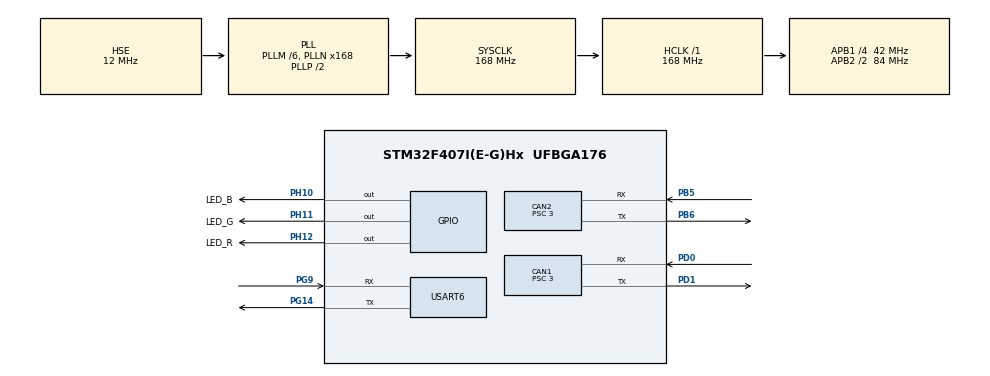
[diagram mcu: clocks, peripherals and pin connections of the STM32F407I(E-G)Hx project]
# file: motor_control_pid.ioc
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CAN1.BS1=CAN_BS1_10TQ
CAN1.BS2=CAN_BS2_3TQ
CAN1.CalculateBaudRate=1000000
CAN1.CalculateTimeBit=1000
CAN1.CalculateTimeQuantum=71.42857142857143
CAN1.Prescaler=3
CAN2.BS1=CAN_BS1_10TQ
CAN2.BS2=CAN_BS2_3TQ
CAN2.CalculateBaudRate=1000000
CAN2.CalculateTimeBit=1000
CAN2.CalculateTimeQuantum=71.42857142857143
CAN2.Prescaler=3
Mcu.Family=STM32F4
Mcu.Name=STM32F407I(E-G)Hx
Mcu.Package=UFBGA176
NVIC.CAN1_RX0_IRQn=true\:0\:0\:false\:false\:true\:true\:true\:true
NVIC.CAN1_TX_IRQn=true\:0\:0\:false\:false\:true\:true\:true\:true
NVIC.PriorityGroup=NVIC_PRIORITYGROUP_4
NVIC.USART6_IRQn=true\:0\:0\:false\:false\:true\:true\:true\:true
PA13.Mode=Serial_Wire
PA13.Signal=SYS_JTMS-SWDIO
PA14.Mode=Serial_Wire
PA14.Signal=SYS_JTCK-SWCLK
PB5.Mode=CAN_Activate
PB5.Signal=CAN2_RX
PB6.Mode=CAN_Activate
PB6.Signal=CAN2_TX
PC14-OSC32_IN.Mode=LSE-External-Oscillator
PC14-OSC32_IN.Signal=RCC_OSC32_IN
PC15-OSC32_OUT.Mode=LSE-External-Oscillator
PC15-OSC32_OUT.Signal=RCC_OSC32_OUT
PD0.Mode=CAN_Activate
PD0.Signal=CAN1_RX
PD1.Mode=CAN_Activate
PD1.Signal=CAN1_TX
PG14.Mode=Asynchronous
PG14.Signal=USART6_TX
PG9.Mode=Asynchronous
PG9.Signal=USART6_RX
PH0-OSC_IN.Mode=HSE-External-Oscillator
PH0-OSC_IN.Signal=RCC_OSC_IN
PH1-OSC_OUT.Mode=HSE-External-Oscillator
PH1-OSC_OUT.Signal=RCC_OSC_OUT
PH10.GPIO_Label=LED_B
PH10.Signal=GPIO_Output
PH11.GPIO_Label=LED_G
PH11.Signal=GPIO_Output
PH12.GPIO_Label=LED_R
PH12.Signal=GPIO_Output
ProjectManager.HeapSize=0x200
ProjectManager.StackSize=0x400
ProjectManager.TargetToolchain=STM32CubeIDE
RCC.48MHZClocksFreq_Value=84000000
RCC.AHBFreq_Value=168000000
RCC.APB1CLKDivider=RCC_HCLK_DIV4
RCC.APB1Freq_Value=42000000
RCC.APB1TimFreq_Value=84000000
RCC.APB2CLKDivider=RCC_HCLK_DIV2
RCC.APB2Freq_Value=84000000
RCC.APB2TimFreq_Value=168000000
RCC.CortexFreq_Value=168000000
RCC.HCLKFreq_Value=168000000
RCC.HSE_VALUE=12000000
RCC.HSI_VALUE=16000000
RCC.PLLM=6
RCC.PLLN=168
RCC.PLLSourceVirtual=RCC_PLLSOURCE_HSE
RCC.SYSCLKFreq_VALUE=168000000
RCC.SYSCLKSource=RCC_SYSCLKSOURCE_PLLCLK
RCC.VCOOutputFreq_Value=336000000
USART6.VirtualMode=VM_ASYNC
board=custom

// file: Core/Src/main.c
/* USER CODE BEGIN Header */
/**
  ******************************************************************************
  * @file           : main.c
  * @brief          : Main program body
  ******************************************************************************
  * @attention
  *
  * Copyright (c) 2023 STMicroelectronics.
  * All rights reserved.
  *
  * This software is licensed under terms that can be found in the LICENSE file
  * in the root directory of this software component.
  * If no LICENSE file comes with this software, it is provided AS-IS.
  *
  ******************************************************************************
  */
/* USER CODE END Header */
#include <stdlib.h>
#include "string.h"

#include "main.h"
#include "can.h"
#include "usart.h"
#include "gpio.h"

/* USER CODE BEGIN Includes */
#include  "CAN_receive.h"
#include "bsp_can.h"
#include "pid.h"
/* USER CODE END Includes */

/* USER CODE BEGIN PTD */

//pid_type_def motor_pid;           // declare PID structure
extern PID_TypeDef drive_motor_pid[4];    // declare PID structure //array defined in pid.c, use "extern"

const motor_measure_t *motor_data[4]; // declare a pointer to the motor data structure

int set_spd = 0;                    // target speed
//const fp32 PID[3] = { 10, 0.02, 0}; // P I D

uint32_t MsgTimer = 0; // time counter
/* USER CODE END PTD */

void SystemClock_Config(void);

/* USER CODE BEGIN 0 */
void USART6_IRQHandler(void)
{
    volatile uint8_t receive;
    //receive interrupt
    if(huart6.Instance->SR & UART_FLAG_RXNE)
    {
        receive = huart6.Instance->DR;
        HAL_GPIO_TogglePin(LED_G_GPIO_Port, LED_G_Pin);
    }
        //idle interrupt
    else if(huart6.Instance->SR & UART_FLAG_IDLE)
    {
        receive = huart6.Instance->DR;
        HAL_GPIO_WritePin(LED_G_GPIO_Port, LED_G_Pin, GPIO_PIN_RESET);
    }
}
/* USER CODE END 0 */

int main(void)
{

  /* MCU Configuration--------------------------------------------------------*/

  /* Reset of all peripherals, Initializes the Flash interface and the Systick. */
  HAL_Init();

  /* Configure the system clock */
  SystemClock_Config();

  /* Initialize all configured peripherals */
  MX_GPIO_Init();
  MX_CAN1_Init();
  MX_CAN2_Init();
  MX_USART6_UART_Init();
  /* USER CODE BEGIN 2 */

    HAL_GPIO_WritePin(LED_G_GPIO_Port, LED_G_Pin, GPIO_PIN_RESET);
    //enable receive interrupt and idle interrupt
    __HAL_UART_ENABLE_IT(&huart6, UART_IT_RXNE);  //receive interrupt
    __HAL_UART_ENABLE_IT(&huart6, UART_IT_IDLE);  //idle interrupt

    can_filter_init();

    //const fp32 PID[3] = {5,2,2 }; // P I D
    //const fp32 PID[3] = {0.9,0.25,0.01 }; // P I D
    const fp32 PID[3] = {10,5,1 }; // P I D

    // initialize pid values of all motors
    for(int i=0;i<4;i++){
        pid_init(&drive_motor_pid[i]);  //把结构体里的函数指针赋值，三个函数
        // motor_pid[i].f_param_init(&motor_pid[i],PID_Speed,16384,5000,10,0,8000,0,1.5,0.1,0);
//        drive_motor_pid[i].f_param_init(&drive_motor_pid[i],PID_Speed,16384,5000,10,0,8000,0,PID[0],PID[1],PID[2]);
//        drive_motor_pid[i].f_param_init(&drive_motor_pid[i],PID_Position,300,200,10,0,800,0,PID[0],PID[1],PID[2]);
        drive_motor_pid[i].f_param_init(&drive_motor_pid[i],PID_Position,10000,200,10,0,800,0,PID[0],PID[1],PID[2]);
        //确定结构体内的参数，幅值，死区大小，PID系数
    }
    // get motor data
    motor_data[0] = get_chassis_motor_measure_point(0); // get the pointer of the motor (id 1) data
    motor_data[1] = get_chassis_motor_measure_point(1);
    motor_data[2] = get_chassis_motor_measure_point(2);
    motor_data[3] = get_chassis_motor_measure_point(3);

  /* USER CODE END 2 */

  /* Infinite loop */
  while (1)
  {

    /* USER CODE BEGIN 3 */
    // set all the target rotation speed (unit: rpm)
    drive_motor_pid[0].target = 3000;    // v can be negative
    drive_motor_pid[1].target = 0;
    drive_motor_pid[2].target = 0;   // v can be negative
    drive_motor_pid[3].target = motor_data[2]->ecd;

    drive_motor_pid[0].f_cal_pid(&drive_motor_pid[0],motor_data[0]->speed_rpm); // calculate motor 1 pid current
    drive_motor_pid[1].f_cal_pid(&drive_motor_pid[1],motor_data[0]->speed_rpm);
    drive_motor_pid[2].f_cal_pid(&drive_motor_pid[2],motor_data[2]->ecd);
    drive_motor_pid[3].f_cal_pid(&drive_motor_pid[3],motor_data[3]->ecd);

    CAN_cmd_chassis(drive_motor_pid[0].output,drive_motor_pid[1].output,0,drive_motor_pid[3].output);
    HAL_Delay(2);

//      CAN_cmd_chassis(4000, 3000, 1000, 1000);
//      HAL_Delay(10);

      if (HAL_GetTick() - MsgTimer > 100) {
          char info1[10];
          char info2[10];
          char info3[10];
          char info4[10];
          int temp = (int) drive_motor_pid[3].output;
          itoa(motor_data[1]->speed_rpm, info1, 10);
          itoa(motor_data[2]->ecd, info2, 10);
          itoa(motor_data[3]->ecd, info3, 10);
          itoa(temp, info4, 10);
//          strcat(info1, "\r\n");
//          strcat(info2, "\r\n");
//          strcat(info3, "\r\n");
//          strcat(info4, "\r\n");

//          HAL_UART_Transmit(&huart6, "(1)rpm:", 8, 100);
//          HAL_UART_Transmit(&huart6, info1, 11, 100);
          HAL_UART_Transmit(&huart6, "(2)ecd:", 7, 3);
          HAL_UART_Transmit(&huart6, info2, 12, 3);
          HAL_UART_Transmit(&huart6, "\r\n", 2, 3);

          HAL_UART_Transmit(&huart6, "(3)ecd:", 7, 3);
          HAL_UART_Transmit(&huart6, info3, 12, 3);
          HAL_UART_Transmit(&huart6, "\r\n", 2, 3);

          HAL_UART_Transmit(&huart6, "(3)output:", 10, 3);
          HAL_UART_Transmit(&huart6, info4, 12, 3);
          HAL_UART_Transmit(&huart6, "\r\n", 2, 3);
          HAL_Delay(1);
            MsgTimer = HAL_GetTick();
      }
  }
  /* USER CODE END 3 */
}

void SystemClock_Config(void)
{
  RCC_OscInitTypeDef RCC_OscInitStruct = {0};
  RCC_ClkInitTypeDef RCC_ClkInitStruct = {0};

  /** Configure the main internal regulator output voltage
  */
  __HAL_RCC_PWR_CLK_ENABLE();
  __HAL_PWR_VOLTAGESCALING_CONFIG(PWR_REGULATOR_VOLTAGE_SCALE1);

  /** Initializes the RCC Oscillators according to the specified parameters
  * in the RCC_OscInitTypeDef structure.
  */
  RCC_OscInitStruct.OscillatorType = RCC_OSCILLATORTYPE_HSE;
  RCC_OscInitStruct.HSEState = RCC_HSE_ON;
  RCC_OscInitStruct.PLL.PLLState = RCC_PLL_ON;
  RCC_OscInitStruct.PLL.PLLSource = RCC_PLLSOURCE_HSE;
  RCC_OscInitStruct.PLL.PLLM = 6;
  RCC_OscInitStruct.PLL.PLLN = 168;
  RCC_OscInitStruct.PLL.PLLP = RCC_PLLP_DIV2;
  RCC_OscInitStruct.PLL.PLLQ = 4;
  if (HAL_RCC_OscConfig(&RCC_OscInitStruct) != HAL_OK)
  {
    Error_Handler();
  }

  /** Initializes the CPU, AHB and APB buses clocks
  */
  RCC_ClkInitStruct.ClockType = RCC_CLOCKTYPE_HCLK|RCC_CLOCKTYPE_SYSCLK
                              |RCC_CLOCKTYPE_PCLK1|RCC_CLOCKTYPE_PCLK2;
  RCC_ClkInitStruct.SYSCLKSource = RCC_SYSCLKSOURCE_PLLCLK;
  RCC_ClkInitStruct.AHBCLKDivider = RCC_SYSCLK_DIV1;
  RCC_ClkInitStruct.APB1CLKDivider = RCC_HCLK_DIV4;
  RCC_ClkInitStruct.APB2CLKDivider = RCC_HCLK_DIV2;

  if (HAL_RCC_ClockConfig(&RCC_ClkInitStruct, FLASH_LATENCY_5) != HAL_OK)
  {
    Error_Handler();
  }
}

void Error_Handler(void)
{
  __disable_irq();
  while (1)
  {
  }
}
